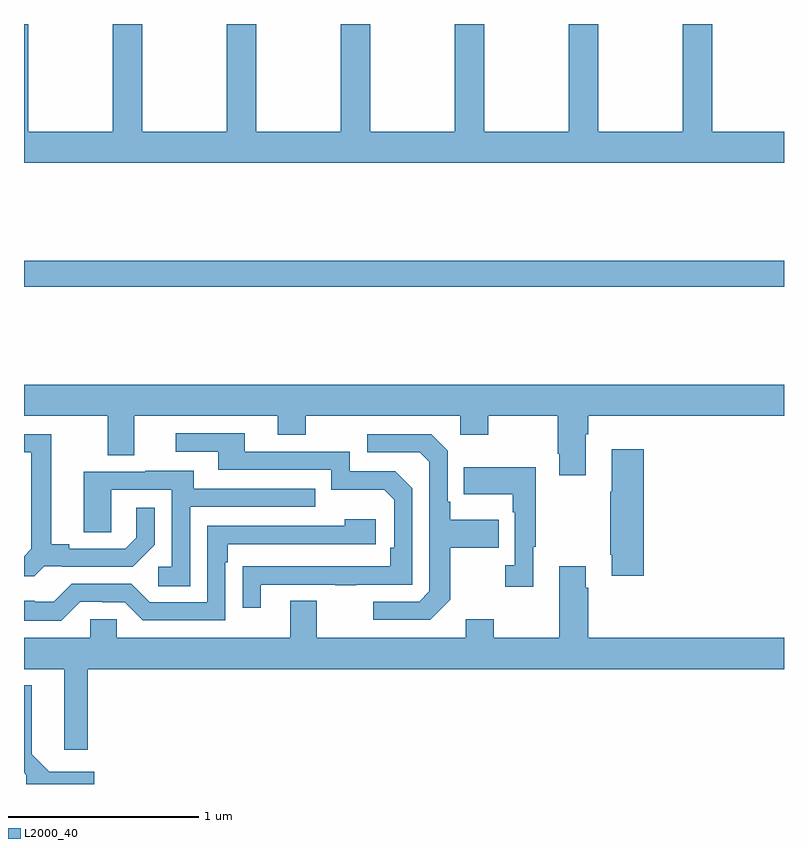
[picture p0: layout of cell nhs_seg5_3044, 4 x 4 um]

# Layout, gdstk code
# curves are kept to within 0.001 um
import gdstk
lib = gdstk.Library(unit=1e-6, precision=1e-09)
def R(c, l, rs):  # rectangles x0, y0, x1, y1
    for r in rs: c.add(gdstk.rectangle(r[:2], r[2:], *l))
def P(c, l, *ps):  # polygons
    for p in ps: c.add(gdstk.Polygon(p, *l))
L2000_40 = (2000, 40)

nhs_seg5_3044 = lib.new_cell('nhs_seg5_3044')
R(nhs_seg5_3044, L2000_40, [(287,881.416,291,881.552)])
P(nhs_seg5_3044, L2000_40, [(291,882.232),(290.622,882.232),(290.622,882.799),(290.467,882.799),(290.467,882.232),(290.022,882.232),(290.022,882.799),(289.867,882.799),(289.867,882.232),(289.422,882.232),(289.422,882.799),(289.267,882.799),(289.267,882.232),(288.822,882.232),(288.822,882.799),(288.667,882.799),(288.667,882.232),(288.222,882.232),(288.222,882.799),(288.067,882.799),(288.067,882.232),(287.622,882.232),(287.622,882.799),(287.467,882.799),(287.467,882.232),(287.022,882.232),(287.022,882.799),(287,882.799),(287,882.068),(291,882.068)],
  [(289.957,880.64),(289.97,880.64),(289.97,880.736),(291,880.736),(291,880.9),(287,880.9),(287,880.736),(287.441,880.736),(287.441,880.528),(287.581,880.528),(287.581,880.736),(288.335,880.736),(288.335,880.637),(288.483,880.637),(288.483,880.736),(289.296,880.736),(289.296,880.637),(289.443,880.637),(289.443,880.736),(289.81,880.736),(289.81,880.537),(289.817,880.537),(289.817,880.425),(289.957,880.425)],
  [(288.247,879.849),(288.637,879.849),(288.637,879.844),(288.749,879.844),(288.749,879.849),(289.044,879.849),(289.044,880.356),(288.954,880.446),(288.714,880.446),(288.714,880.548),(288.163,880.548),(288.163,880.644),(287.799,880.644),(287.799,880.548),(288.023,880.548),(288.023,880.452),(288.618,880.452),(288.618,880.349),(288.895,880.349),(288.948,880.296),(288.948,880.042),(288.928,880.042),(288.928,879.945),(288.151,879.944),(288.151,879.726),(288.247,879.726)],
  [(289.243,879.769),(289.243,880.042),(289.499,880.042),(289.499,880.189),(289.243,880.189),(289.243,880.285),(289.23,880.285),(289.23,880.554),(289.143,880.641),(288.807,880.641),(288.807,880.545),(289.083,880.545),(289.134,880.494),(289.134,879.813),(289.08,879.759),(288.837,879.759),(288.837,879.663),(289.137,879.663)],
  [(287.106,879.945),(287.2,879.945),(287.2,879.942),(287.572,879.942),(287.688,880.058),(287.688,880.252),(287.591,880.252),(287.591,880.095),(287.534,880.038),(287.239,880.038),(287.239,880.061),(287.143,880.061),(287.143,880.641),(287,880.641),(287,880.545),(287.039,880.545),(287.039,880.037),(287,879.998),(287,879.893),(287.054,879.893)],
  [(290.261,880.561),(290.093,880.561),(290.093,880.337),(290.086,880.337),(290.086,880.006),(290.093,880.006),(290.093,879.894),(290.261,879.894)],
  [(289.681,880.049),(289.693,880.049),(289.693,880.465),(289.315,880.465),(289.315,880.325),(289.572,880.325),(289.572,880.229),(289.584,880.229),(289.584,879.95),(289.533,879.95),(289.533,879.837),(289.681,879.837)],
  [(287.874,880.257),(288.533,880.257),(288.533,880.353),(287.893,880.353),(287.893,880.447),(287.639,880.447),(287.639,880.443),(287.315,880.443),(287.315,880.123),(287.46,880.123),(287.46,880.347),(287.778,880.347),(287.778,879.942),(287.706,879.942),(287.706,879.841),(287.874,879.841)],
  [(287.295,879.759),(287.411,879.759),(287.411,879.756),(287.529,879.756),(287.625,879.66),(288.06,879.66),(288.06,879.965),(288.073,879.965),(288.073,880.062),(288.85,880.062),(288.85,880.192),(288.689,880.192),(288.689,880.158),(287.964,880.158),(287.964,879.756),(287.661,879.756),(287.565,879.852),(287.25,879.852),(287.157,879.759),(287.057,879.759),(287.057,879.763),(287,879.763),(287,879.659),(287.195,879.659)],
  [(287.336,879.404),(291,879.404),(291,879.568),(289.97,879.568),(289.97,879.833),(289.957,879.833),(289.957,879.946),(289.817,879.946),(289.817,879.568),(289.473,879.568),(289.473,879.667),(289.325,879.667),(289.325,879.568),(288.541,879.568),(288.541,879.763),(288.401,879.763),(288.401,879.568),(287.487,879.568),(287.487,879.666),(287.349,879.666),(287.349,879.568),(287,879.568),(287,879.404),(287.213,879.404),(287.213,878.979),(287.336,878.979)],
  [(287.371,878.863),(287.133,878.863),(287.041,878.956),(287.041,879.319),(287,879.319),(287,878.857),(287.013,878.844),(287.013,878.799),(287.371,878.799)])

lib.write_gds('nhs_seg5_3044.gds')
